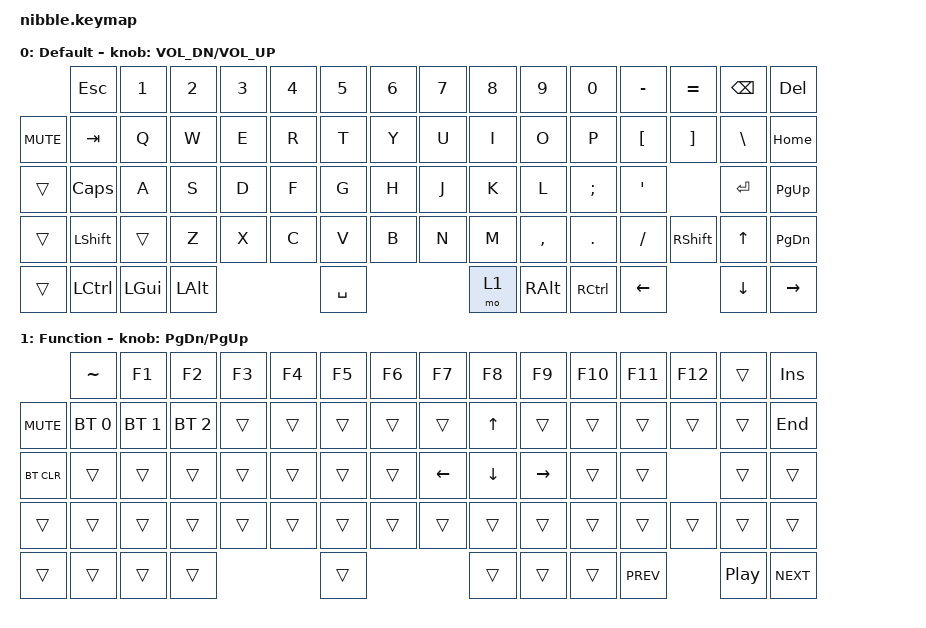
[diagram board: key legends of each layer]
/*
 * Copyright (c) 2020 The ZMK Contributors
 *
 * SPDX-License-Identifier: MIT
 */

#include <behaviors.dtsi>
#include <dt-bindings/zmk/keys.h>
#include <dt-bindings/zmk/bt.h>

/ {
	sensors {
		compatible = "zmk,keymap-sensors";
		sensors = <&encoder_1>;
	};

	keymap {
		compatible = "zmk,keymap";

		default_layer {
			label = "Default";

			sensor-bindings = <&inc_dec_kp C_VOL_DN C_VOL_UP>;

			bindings = <
            &kp ESC   &kp N1    &kp N2    &kp N3    &kp N4    &kp N5    &kp N6    &kp N7    &kp N8  &kp N9    &kp N0    &kp MINUS &kp EQUAL &kp BSPC &kp DEL
&kp C_MUTE  &kp TAB   &kp Q     &kp W     &kp E     &kp R     &kp T     &kp Y     &kp U     &kp I   &kp O     &kp P     &kp LBKT  &kp RBKT  &kp BSLH &kp HOME
&trans      &kp CLCK  &kp A     &kp S     &kp D     &kp F     &kp G     &kp H     &kp J     &kp K   &kp L     &kp SEMI  &kp SQT             &kp RET  &kp PG_UP
&trans      &kp LSHFT &trans    &kp Z     &kp X     &kp C     &kp V     &kp B     &kp N     &kp M   &kp COMMA &kp DOT   &kp FSLH  &kp RSHFT &kp UP   &kp PG_DN
&trans      &kp LCTRL &kp LGUI  &kp LALT                      &kp SPACE                     &mo 1   &kp RALT  &kp RCTRL &kp LEFT            &kp DOWN &kp RIGHT
			>;
		};
		function_layer {
			label = "Function";
			
			sensor-bindings = <&inc_dec_kp PG_DN PG_UP>;

			bindings = <
            &kp TILDE     &kp F1        &kp F2        &kp F3    &kp F4    &kp F5    &kp F6    &kp F7    &kp F8    &kp F9     &kp F10   &kp F11   &kp F12   &trans   &kp INS
&kp C_MUTE  &bt BT_SEL 0  &bt BT_SEL 1  &bt BT_SEL 2  &trans    &trans    &trans    &trans    &trans    &kp UP    &trans     &trans    &trans    &trans    &trans   &kp END
&bt BT_CLR  &trans        &trans        &trans        &trans    &trans    &trans    &trans    &kp LEFT  &kp DOWN  &kp RIGHT  &trans    &trans              &trans   &trans
&trans      &trans        &trans        &trans        &trans    &trans    &trans    &trans    &trans    &trans    &trans     &trans    &trans    &trans    &trans   &trans
&trans      &trans        &trans        &trans                            &trans                        &trans    &trans     &trans    &kp C_PREV          &kp C_PP &kp C_NEXT
			>;
		};
	};
};
